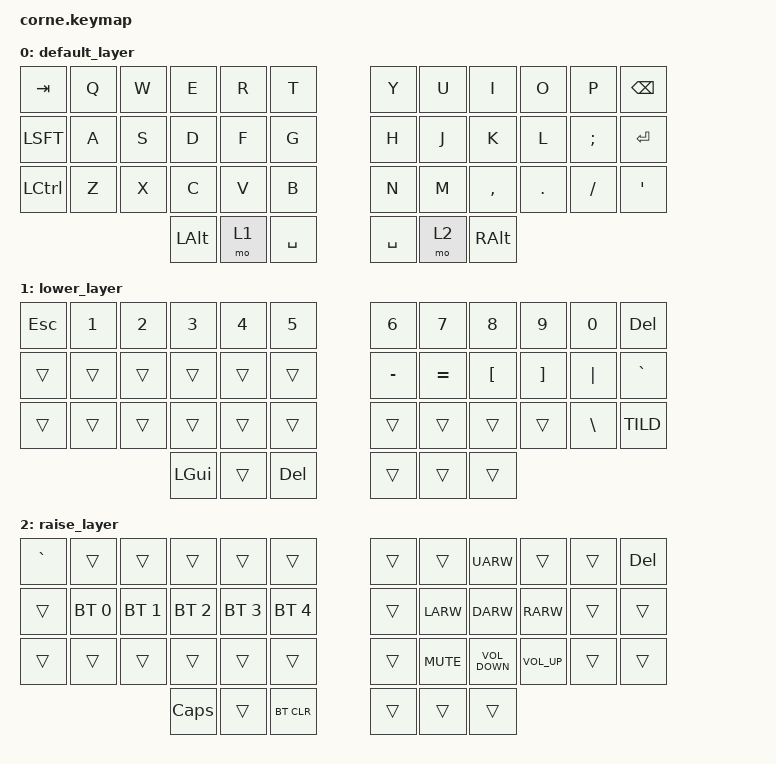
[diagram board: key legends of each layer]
/*
 * Copyright (c) 2020 The ZMK Contributors
 *
 * SPDX-License-Identifier: MIT
 */

#include <behaviors.dtsi>
#include <dt-bindings/zmk/keys.h>
#include <dt-bindings/zmk/bt.h>

/ {
        keymap {
                compatible = "zmk,keymap";

                default_layer {
// -----------------------------------------------------------------------------------------
// |  TAB |  Q  |  W  |  E  |  R  |  T  |   |  Y  |  U   |  I  |  O  |  P  | BKSP |
// | SHFT |  A  |  S  |  D  |  F  |  G  |   |  H  |  J   |  K  |  L  |  ;  | ENT  |
// | CTRL |  Z  |  X  |  C  |  V  |  B  |   |  N  |  M   |  ,  |  .  |  /  |  '   |
//                    | ALT | LWR | SPC |   | SPC | RSE  | ALT |
                        bindings = <
   &kp TAB  &kp Q &kp W &kp E     &kp R   &kp T    &kp Y   &kp U  &kp I    &kp O   &kp P    &kp BKSP
   &kp LSFT &kp A &kp S &kp D     &kp F   &kp G    &kp H   &kp J  &kp K    &kp L   &kp SCLN &kp RET
   &kp LCTL &kp Z &kp X &kp C     &kp V   &kp B    &kp N   &kp M  &kp CMMA &kp DOT &kp FSLH &kp QUOT
                        &kp LALT  &mo 1   &kp SPC  &kp SPC &mo 2  &kp RALT
                        >;
                };
				
				lower_layer {
// -----------------------------------------------------------------------------------------
// |  ESC |  1  |  2  |  3  |  4  |  5  |   |  6  |  7  |  8  |  9  |  0  | DEL  |
// |      |     |     |     |     |     |   |  -  |  =  |  {  |  }  | "|" |  `   |
// |      |     |     |     |     |     |   |  _  |  +  |  [  |  ]  |  \  |  ~   | // TODO: Fix this row when &mkp is committed
//                    | GUI |     | DEL |   |     |     |     |
                        bindings = <
   &kp ESC  &kp NUM_1 &kp NUM_2 &kp NUM_3 &kp NUM_4 &kp NUM_5   &kp NUM_6 &kp NUM_7 &kp NUM_8 &kp NUM_9 &kp NUM_0 &kp DELETE
   &trans   &trans    &trans    &trans    &trans    &trans      &kp MINUS &kp EQL   &kp LBKT  &kp RBKT  &kp PIPE  &kp GRAV
   &trans   &trans    &trans    &trans    &trans    &trans      &trans    &trans    &trans    &trans    &kp BSLH  &kp TILD
                                &kp LGUI  &trans    &kp DELETE  &trans    &trans    &trans
                        >;
                };
				
                raise_layer {
// -----------------------------------------------------------------------------------------
// |  `   |     |     |     |     |     |   |     |     | UP  |     |     | DEL  |
// |      | BT1 | BT2 | BT3 | BT4 | BT5 |   |     | LFT | DWN | RGT |     |      |
// |      |     |     |     |     |     |   |     |MUTE |VOLD |VOLU |     |      |
//                    | CAPS|     |BTCLR|   |     |     |     |
                        bindings = <
   &kp GRAV   &trans       &trans       &trans       &trans       &trans            &trans    &trans       &kp UARW           &trans             &trans   &kp DELETE
   &trans     &bt BT_SEL 0 &bt BT_SEL 1 &bt BT_SEL 2 &bt BT_SEL 3 &bt BT_SEL 4      &trans    &kp LARW     &kp DARW           &kp RARW           &trans   &trans
   &trans     &trans       &trans       &trans       &trans       &trans            &trans    &kp C_MUTE   &kp C_VOLUME_DOWN  &kp C_VOLUME_UP    &trans   &trans
                                        &kp CLCK     &trans       &bt BT_CLR        &trans    &trans       &trans
                        >;
                };
        };
};

